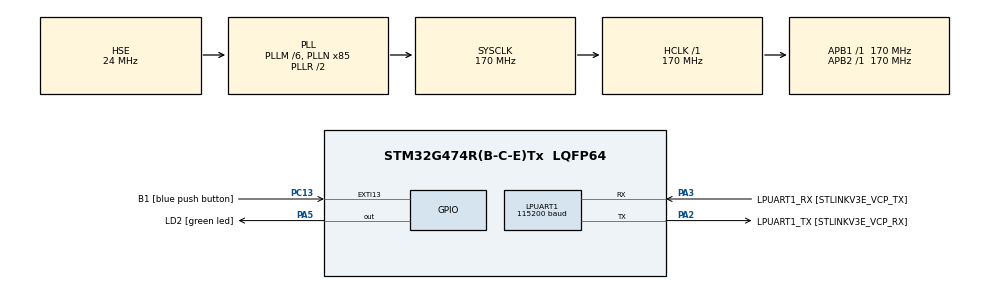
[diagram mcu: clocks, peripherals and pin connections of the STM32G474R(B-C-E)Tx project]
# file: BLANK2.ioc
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Mcu.Family=STM32G4
RCC.PLLSourceVirtual=RCC_PLLSOURCE_HSE
PC15-OSC32_OUT.Mode=LSE-External-Oscillator
RCC.CortexFreq_Value=170000000
PC13.Signal=GPXTI13
PA14.GPIO_Label=T_SWCLK
LPUART1.WordLength=UART_WORDLENGTH_8B
RCC.EXTERNAL_CLOCK_VALUE=12288000
PC13.GPIO_Label=B1 [blue push button]
PC14-OSC32_IN.Signal=RCC_OSC32_IN
RCC.SYSCLKSource=RCC_SYSCLKSOURCE_PLLCLK
ProjectManager.StackSize=0x400
PA13.Signal=SYS_JTMS-SWDIO
PA3.Mode=Asynchronous
ProjectManager.TargetToolchain=STM32CubeIDE
RCC.HCLKFreq_Value=170000000
RCC.APB2TimFreq_Value=170000000
RCC.USBFreq_Value=170000000
PC15-OSC32_OUT.Signal=RCC_OSC32_OUT
RCC.AHBFreq_Value=170000000
PF0-OSC_IN.Mode=HSE-External-Oscillator
NVIC.EXTI15_10_IRQn=true\:0\:0\:false\:false\:true\:true\:true
PA5.Signal=GPIO_Output
RCC.HSE_VALUE=24000000
board=NUCLEO-G474RE
RCC.VCOOutputFreq_Value=340000000
RCC.ADC12Freq_Value=170000000
RCC.RTCClockSelection=RCC_RTCCLKSOURCE_LSE
RCC.ADC345Freq_Value=170000000
RCC.APB2Freq_Value=170000000
PC14-OSC32_IN.Mode=LSE-External-Oscillator
PA14.Mode=Serial_Wire
VP_SYS_VS_DBSignals.Mode=DisableDeadBatterySignals
PA13.Mode=Serial_Wire
Mcu.Name=STM32G474R(B-C-E)Tx
LPUART1.BaudRate=115200
PA2.Signal=LPUART1_TX
PA13.GPIO_Label=T_SWDIO
PB3.Signal=SYS_JTDO-SWO
RCC.SYSCLKFreq_VALUE=170000000
Mcu.Package=LQFP64
PA5.GPIO_Label=LD2 [green led]
PA2.GPIO_Label=LPUART1_TX [STLINKV3E_VCP_RX]
PA14.Signal=SYS_JTCK-SWCLK
ProjectManager.HeapSize=0x200
RCC.HSI_VALUE=16000000
NVIC.PriorityGroup=NVIC_PRIORITYGROUP_4
RCC.PLLM=RCC_PLLM_DIV6
RCC.PLLN=85
RCC.APB1TimFreq_Value=170000000
PA2.Mode=Asynchronous
PF0-OSC_IN.Signal=RCC_OSC_IN
PF1-OSC_OUT.Mode=HSE-External-Oscillator
RCC.APB1Freq_Value=170000000
PF1-OSC_OUT.Signal=RCC_OSC_OUT
RCC.HSI48_VALUE=48000000
PA3.GPIO_Label=LPUART1_RX [STLINKV3E_VCP_TX]
PA3.Signal=LPUART1_RX
PB3.GPIO_Label=T_SWO

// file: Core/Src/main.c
/* USER CODE BEGIN Header */
/**
  ******************************************************************************
  * @file           : main.c
  * @brief          : Main program body
  ******************************************************************************
  * @attention
  *
  * <h2><center>&copy; Copyright (c) 2021 STMicroelectronics.
  * All rights reserved.</center></h2>
  *
  * This software component is licensed by ST under BSD 3-Clause license,
  * the "License"; You may not use this file except in compliance with the
  * License. You may obtain a copy of the License at:
  *                        opensource.org/licenses/BSD-3-Clause
  *
  ******************************************************************************
  */
/* USER CODE END Header */
#include "main.h"
#include "usart.h"
#include "gpio.h"

/* USER CODE BEGIN Includes */
#include "picture.h"
#include "oled.h"
#include "i2c.h"
/* USER CODE END Includes */

void SystemClock_Config(void);

int main(void)
{

  /* MCU Configuration--------------------------------------------------------*/

  /* Reset of all peripherals, Initializes the Flash interface and the Systick. */
  HAL_Init();

  /* Configure the system clock */
  SystemClock_Config();

  /* Initialize all configured peripherals */
  MX_GPIO_Init();
  MX_LPUART1_UART_Init();
  /* USER CODE BEGIN 2 */
	OLED_Init(); //OLED³õÊ¼»¯
	OLED_DrawBMP(0,0,128,8,(u8 *)pic1);	  //Èç¹ûÒªÕý×ÅÏÔÊ¾£¬ÐèÒª½«È¡Ä£·½Ê½ÐÞ¸ÄÖØÐÂÈ¡Ä£
		delay_ms(1500);

OLED_Refresh_Gram();  //Ë¢ÐÂGRAMÊý×é

  /* USER CODE END 2 */

  /* Infinite loop */
  while (1)
  {

    /* USER CODE BEGIN 3 */

		OLED_ShowFontHZ(16*0,20,0,16,1);	 //ÉîÛÚÆÕÖÐ¿Æ¼¼
		OLED_ShowFontHZ(16*1,20,1,16,1);
		OLED_ShowFontHZ(16*2,20,2,16,1);
		OLED_ShowFontHZ(16*3,20,3,16,1);
		OLED_ShowFontHZ(16*4,20,4,16,1);
		OLED_ShowFontHZ(16*5,20,5,16,1);
		delay_ms(1500);
		OLED_Refresh_Gram();

  }
  /* USER CODE END 3 */
}

void SystemClock_Config(void)
{
  RCC_OscInitTypeDef RCC_OscInitStruct = {0};
  RCC_ClkInitTypeDef RCC_ClkInitStruct = {0};
  RCC_PeriphCLKInitTypeDef PeriphClkInit = {0};

  /** Configure the main internal regulator output voltage
  */
  HAL_PWREx_ControlVoltageScaling(PWR_REGULATOR_VOLTAGE_SCALE1_BOOST);
  /** Initializes the RCC Oscillators according to the specified parameters
  * in the RCC_OscInitTypeDef structure.
  */
  RCC_OscInitStruct.OscillatorType = RCC_OSCILLATORTYPE_HSE;
  RCC_OscInitStruct.HSEState = RCC_HSE_ON;
  RCC_OscInitStruct.PLL.PLLState = RCC_PLL_ON;
  RCC_OscInitStruct.PLL.PLLSource = RCC_PLLSOURCE_HSE;
  RCC_OscInitStruct.PLL.PLLM = RCC_PLLM_DIV6;
  RCC_OscInitStruct.PLL.PLLN = 85;
  RCC_OscInitStruct.PLL.PLLP = RCC_PLLP_DIV2;
  RCC_OscInitStruct.PLL.PLLQ = RCC_PLLQ_DIV2;
  RCC_OscInitStruct.PLL.PLLR = RCC_PLLR_DIV2;
  if (HAL_RCC_OscConfig(&RCC_OscInitStruct) != HAL_OK)
  {
    Error_Handler();
  }
  /** Initializes the CPU, AHB and APB buses clocks
  */
  RCC_ClkInitStruct.ClockType = RCC_CLOCKTYPE_HCLK|RCC_CLOCKTYPE_SYSCLK
                              |RCC_CLOCKTYPE_PCLK1|RCC_CLOCKTYPE_PCLK2;
  RCC_ClkInitStruct.SYSCLKSource = RCC_SYSCLKSOURCE_PLLCLK;
  RCC_ClkInitStruct.AHBCLKDivider = RCC_SYSCLK_DIV1;
  RCC_ClkInitStruct.APB1CLKDivider = RCC_HCLK_DIV1;
  RCC_ClkInitStruct.APB2CLKDivider = RCC_HCLK_DIV1;

  if (HAL_RCC_ClockConfig(&RCC_ClkInitStruct, FLASH_LATENCY_4) != HAL_OK)
  {
    Error_Handler();
  }
  /** Initializes the peripherals clocks
  */
  PeriphClkInit.PeriphClockSelection = RCC_PERIPHCLK_LPUART1;
  PeriphClkInit.Lpuart1ClockSelection = RCC_LPUART1CLKSOURCE_PCLK1;
  if (HAL_RCCEx_PeriphCLKConfig(&PeriphClkInit) != HAL_OK)
  {
    Error_Handler();
  }
}

/* USER CODE BEGIN 4 */

void Delay_us(uint32_t i)
{
    uint32_t temp;
    SysTick->LOAD=9*i;                     //设置重装数值, 72MHZ时
    SysTick->CTRL=0X01;                 //使能，减到零是无动作，采用外部时钟源
    SysTick->VAL=0;                 //清零计数器

    do
    {
        temp=SysTick->CTRL;                            //读取当前倒计数值
    }
    while((temp&0x01)&&(!(temp&(1<<16))));     //等待时间到达

    SysTick->CTRL=0;         //关闭计数器
    SysTick->VAL=0;        //清空计数器
}

void delay_ms(u16 nms)
{
	u32 i;
	for(i=0;i<nms;i++) Delay_us(1000);
}

/* USER CODE END 4 */

void Error_Handler(void)
{
  __disable_irq();
  while (1)
  {
  }
}

/************************ (C) COPYRIGHT STMicroelectronics *****END OF FILE****/
